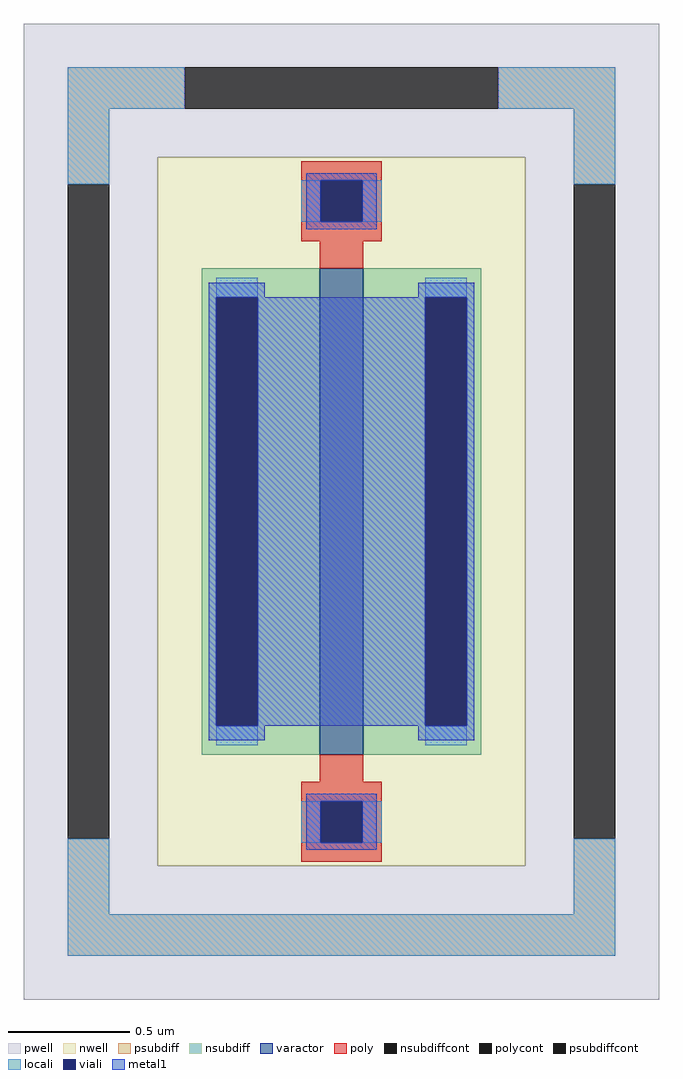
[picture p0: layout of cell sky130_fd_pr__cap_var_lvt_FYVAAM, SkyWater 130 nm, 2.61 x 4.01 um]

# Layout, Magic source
magic
tech sky130A
magscale 1 2
<< nwell >>
rect -151 -291 151 291
<< pwell >>
rect -261 291 261 401
rect -261 -291 -151 291
rect 151 -291 261 291
rect -261 -401 261 -291
<< varactor >>
rect -18 -200 18 200
<< psubdiff >>
rect -225 331 -129 365
rect 129 331 225 365
rect -225 269 -191 331
rect 191 269 225 331
rect -225 -331 -191 -269
rect 191 -331 225 -269
rect -225 -365 225 -331
<< nsubdiff >>
rect -115 176 -18 200
rect -115 -176 -103 176
rect -69 -176 -18 176
rect -115 -200 -18 -176
rect 18 176 115 200
rect 18 -176 69 176
rect 103 -176 115 176
rect 18 -200 115 -176
<< psubdiffcont >>
rect -129 331 129 365
rect -225 -269 -191 269
rect 191 -269 225 269
<< nsubdiffcont >>
rect -103 -176 -69 176
rect 69 -176 103 176
<< poly >>
rect -33 272 33 288
rect -33 238 -17 272
rect 17 238 33 272
rect -33 222 33 238
rect -18 200 18 222
rect -18 -222 18 -200
rect -33 -238 33 -222
rect -33 -272 -17 -238
rect 17 -272 33 -238
rect -33 -288 33 -272
<< polycont >>
rect -17 238 17 272
rect -17 -272 17 -238
<< locali >>
rect -225 331 -129 365
rect 129 331 225 365
rect -225 269 -191 331
rect -33 238 -17 272
rect 17 238 33 272
rect 191 269 225 331
rect -103 176 -69 192
rect -103 -192 -69 -176
rect 69 176 103 192
rect 69 -192 103 -176
rect -225 -331 -191 -269
rect -33 -272 -17 -238
rect 17 -272 33 -238
rect 191 -331 225 -269
rect -225 -365 225 -331
<< viali >>
rect -17 238 17 272
rect -103 -176 -69 176
rect 69 -176 103 176
rect -17 -272 17 -238
<< metal1 >>
rect -29 272 29 278
rect -29 238 -17 272
rect 17 238 29 272
rect -29 232 29 238
rect -109 176 -63 188
rect 63 176 109 188
rect -109 -176 -103 176
rect -69 -176 69 176
rect 103 -176 109 176
rect -109 -188 -63 -176
rect 63 -188 109 -176
rect -29 -238 29 -232
rect -29 -272 -17 -238
rect 17 -272 29 -238
rect -29 -278 29 -272
<< properties >>
string FIXED_BBOX -208 -348 208 348
string gencell sky130_fd_pr__cap_var_lvt
string library sky130
string parameters w 2.0 l 0.18 m 1 nf 1 diffcov 100 polycov 100 guard 1 glc 1 grc 1 gtc 1 gbc 0 tbcov 100 rlcov 100 topc 1 botc 1 poverlap 0 doverlap 1 lmin 0.18 wmin 1.0 compatible {sky130_fd_pr__cap_var_lvt  sky130_fd_pr__cap_var_hvt sky130_fd_pr__cap_var} full_metal 1 viasrc 100 viadrn 100 viagate 100 viagb 0 viagr 0 viagl 0 viagt 0 gshield 1
<< end >>
